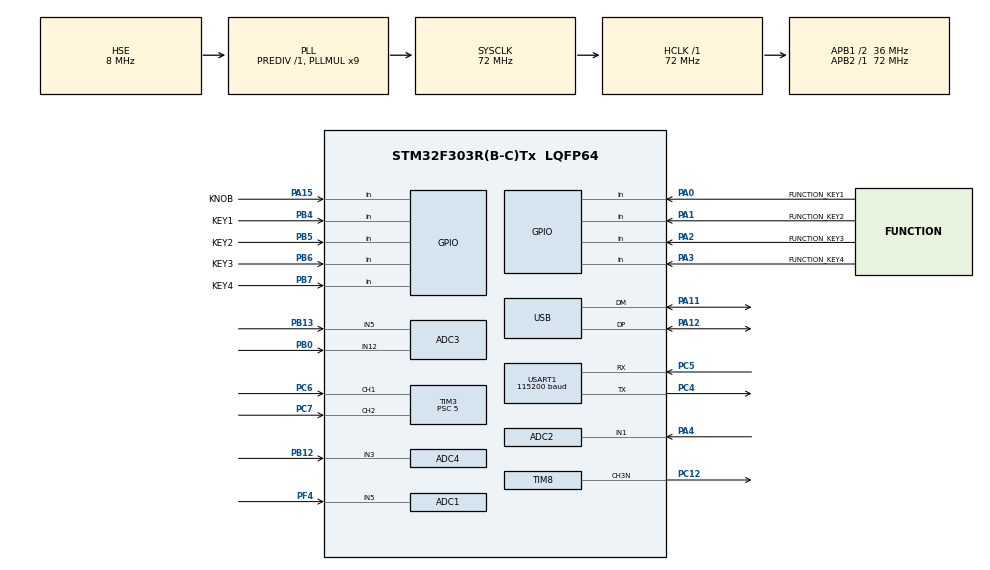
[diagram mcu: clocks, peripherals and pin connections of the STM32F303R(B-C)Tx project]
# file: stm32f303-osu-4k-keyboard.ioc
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ADC1.Channel-0\#ChannelRegularConversion=ADC_CHANNEL_5
ADC1.NbrOfConversionFlag=1
ADC1.Offset-0\#ChannelRegularConversion=0
ADC1.OffsetNumber-0\#ChannelRegularConversion=ADC_OFFSET_NONE
ADC1.Rank-0\#ChannelRegularConversion=1
ADC1.SamplingTime-0\#ChannelRegularConversion=ADC_SAMPLETIME_1CYCLE_5
ADC1.SamplingTimeOPAMP-0\#ChannelRegularConversion=ADC_SAMPLETIME_4CYCLES_5
ADC1.master=1
ADC2.Channel-0\#ChannelRegularConversion=ADC_CHANNEL_1
ADC2.NbrOfConversionFlag=1
ADC2.Offset-0\#ChannelRegularConversion=0
ADC2.OffsetNumber-0\#ChannelRegularConversion=ADC_OFFSET_NONE
ADC2.Rank-0\#ChannelRegularConversion=1
ADC2.SamplingTime-0\#ChannelRegularConversion=ADC_SAMPLETIME_1CYCLE_5
ADC2.SamplingTimeOPAMP-0\#ChannelRegularConversion=ADC_SAMPLETIME_4CYCLES_5
ADC3.Channel-0\#ChannelRegularConversion=ADC_CHANNEL_5
ADC3.NbrOfConversionFlag=1
ADC3.Offset-0\#ChannelRegularConversion=0
ADC3.OffsetNumber-0\#ChannelRegularConversion=ADC_OFFSET_NONE
ADC3.Rank-0\#ChannelRegularConversion=1
ADC3.SamplingTime-0\#ChannelRegularConversion=ADC_SAMPLETIME_1CYCLE_5
ADC3.master=1
ADC4.Channel-0\#ChannelRegularConversion=ADC_CHANNEL_3
ADC4.NbrOfConversionFlag=1
ADC4.Offset-0\#ChannelRegularConversion=0
ADC4.OffsetNumber-0\#ChannelRegularConversion=ADC_OFFSET_NONE
ADC4.Rank-0\#ChannelRegularConversion=1
ADC4.SamplingTime-0\#ChannelRegularConversion=ADC_SAMPLETIME_1CYCLE_5
ADC4.SamplingTimeOPAMP-0\#ChannelRegularConversion=ADC_SAMPLETIME_4CYCLES_5
Dma.Request0=TIM8_CH3/UP
Dma.Request1=USART1_TX
Dma.TIM8_CH3/UP.0.Direction=DMA_MEMORY_TO_PERIPH
Dma.TIM8_CH3/UP.0.Instance=DMA2_Channel1
Dma.TIM8_CH3/UP.0.MemDataAlignment=DMA_MDATAALIGN_WORD
Dma.TIM8_CH3/UP.0.MemInc=DMA_MINC_ENABLE
Dma.TIM8_CH3/UP.0.Mode=DMA_CIRCULAR
Dma.TIM8_CH3/UP.0.PeriphDataAlignment=DMA_PDATAALIGN_WORD
Dma.TIM8_CH3/UP.0.PeriphInc=DMA_PINC_DISABLE
Dma.TIM8_CH3/UP.0.Priority=DMA_PRIORITY_HIGH
Dma.USART1_TX.1.Direction=DMA_MEMORY_TO_PERIPH
Dma.USART1_TX.1.Instance=DMA1_Channel4
Dma.USART1_TX.1.MemDataAlignment=DMA_MDATAALIGN_BYTE
Dma.USART1_TX.1.MemInc=DMA_MINC_ENABLE
Dma.USART1_TX.1.Mode=DMA_NORMAL
Dma.USART1_TX.1.PeriphDataAlignment=DMA_PDATAALIGN_BYTE
Dma.USART1_TX.1.PeriphInc=DMA_PINC_DISABLE
Dma.USART1_TX.1.Priority=DMA_PRIORITY_LOW
Mcu.Family=STM32F3
Mcu.Name=STM32F303R(B-C)Tx
Mcu.Package=LQFP64
NVIC.DMA1_Channel4_IRQn=true\:0\:0\:false\:false\:true\:false\:true\:true
NVIC.DMA2_Channel1_IRQn=true\:0\:0\:false\:false\:true\:false\:true\:true
NVIC.PriorityGroup=NVIC_PRIORITYGROUP_4
NVIC.TIM3_IRQn=true\:0\:0\:false\:false\:true\:true\:true\:true
NVIC.TIM7_IRQn=true\:0\:0\:false\:false\:true\:true\:true\:true
NVIC.USB_LP_CAN_RX0_IRQn=true\:0\:0\:false\:false\:true\:false\:true\:true
PA0.GPIO_Label=FUNCTION_KEY1
PA0.GPIO_PuPd=GPIO_PULLUP
PA0.Signal=GPIO_Input
PA1.GPIO_Label=FUNCTION_KEY2
PA1.GPIO_PuPd=GPIO_PULLUP
PA1.Signal=GPIO_Input
PA11.Mode=Device
PA11.Signal=USB_DM
PA12.Mode=Device
PA12.Signal=USB_DP
PA13.Mode=Serial_Wire
PA13.Signal=SYS_JTMS-SWDIO
PA14.Mode=Serial_Wire
PA14.Signal=SYS_JTCK-SWCLK
PA15.GPIO_Label=KNOB
PA15.GPIO_PuPd=GPIO_PULLUP
PA15.Signal=GPIO_Input
PA2.GPIO_Label=FUNCTION_KEY3
PA2.GPIO_PuPd=GPIO_PULLUP
PA2.Signal=GPIO_Input
PA3.GPIO_Label=FUNCTION_KEY4
PA3.GPIO_PuPd=GPIO_PULLUP
PA3.Signal=GPIO_Input
PA4.Mode=IN1-Single-Ended
PA4.Signal=ADC2_IN1
PB0.Mode=IN12-Single-Ended
PB0.Signal=ADC3_IN12
PB12.Mode=IN3-Single-Ended
PB12.Signal=ADC4_IN3
PB13.Mode=IN5-Single-Ended
PB13.Signal=ADC3_IN5
PB4.GPIO_Label=KEY1
PB4.GPIO_PuPd=GPIO_PULLUP
PB4.Signal=GPIO_Input
PB5.GPIO_Label=KEY2
PB5.GPIO_PuPd=GPIO_PULLUP
PB5.Signal=GPIO_Input
PB6.GPIO_Label=KEY3
PB6.GPIO_PuPd=GPIO_PULLUP
PB6.Signal=GPIO_Input
PB7.GPIO_Label=KEY4
PB7.GPIO_PuPd=GPIO_PULLUP
PB7.Signal=GPIO_Input
PC12.GPIO_ModeDefaultPP=GPIO_MODE_AF_OD
PC12.Mode=PWM Generation3 CH3N
PC12.Signal=TIM8_CH3N
PC4.GPIO_ModeDefaultOD=GPIO_MODE_AF_PP
PC4.Mode=Multiprocessor_communication
PC4.Signal=USART1_TX
PC5.GPIO_ModeDefaultOD=GPIO_MODE_AF_PP
PC5.Mode=Multiprocessor_communication
PC5.Signal=USART1_RX
PC6.Signal=S_TIM3_CH1
PC7.Signal=S_TIM3_CH2
PF0-OSC_IN.Mode=HSE-External-Oscillator
PF0-OSC_IN.Signal=RCC_OSC_IN
PF1-OSC_OUT.Mode=HSE-External-Oscillator
PF1-OSC_OUT.Signal=RCC_OSC_OUT
PF4.Mode=IN5-Single-Ended
PF4.Signal=ADC1_IN5
ProjectManager.HeapSize=0x200
ProjectManager.StackSize=0x400
ProjectManager.TargetToolchain=MDK-ARM V5.32
RCC.AHBFreq_Value=72000000
RCC.APB1CLKDivider=RCC_HCLK_DIV2
RCC.APB1Freq_Value=36000000
RCC.APB1TimFreq_Value=72000000
RCC.APB2Freq_Value=72000000
RCC.APB2TimFreq_Value=72000000
RCC.CortexFreq_Value=72000000
RCC.HCLKFreq_Value=72000000
RCC.HSE_VALUE=8000000
RCC.HSI_VALUE=8000000
RCC.LSE_VALUE=32768
RCC.PLLMUL=RCC_PLL_MUL9
RCC.PRESCALERUSB=RCC_USBCLKSOURCE_PLL_DIV1_5
RCC.SYSCLKFreq_VALUE=72000000
RCC.SYSCLKSourceVirtual=RCC_SYSCLKSOURCE_PLLCLK
RCC.USBFreq_Value=48000000
SH.S_TIM3_CH1.0=TIM3_CH1,Encoder_Interface
SH.S_TIM3_CH2.0=TIM3_CH2,Encoder_Interface
TIM3.EncoderMode=TIM_ENCODERMODE_TI2
TIM3.IC1Filter=4
TIM3.IC2Filter=4
TIM3.IC2Polarity=TIM_ICPOLARITY_RISING
TIM3.Period=30
TIM3.Prescaler=5
TIM7.Period=10-1
TIM7.Prescaler=7200-1
TIM8.Channel-PWM\ Generation3\ CH3N=TIM_CHANNEL_3
TIM8.CounterMode=TIM_COUNTERMODE_DOWN
TIM8.Period=90-1
USART1.BaudRate=115200
USART1.VirtualMode-Multiprocessor_communication=VM_ASYNC
USB.low_power_enable=DISABLE
USB.lpm_enable=DISABLE
USB_DEVICE.CLASS_NAME_FS=HID
USB_DEVICE.PID_HID_FS=22316
USB_DEVICE.PRODUCT_STRING_HID_FS=osu 4K Keyboard
USB_DEVICE.VID=1156
USB_DEVICE.VirtualMode=Hid
USB_DEVICE.VirtualModeFS=Hid_FS
VP_TIM7_VS_ClockSourceINT.Mode=Enable_Timer
VP_USB_DEVICE_VS_USB_DEVICE_HID_FS.Mode=HID_FS
board=custom

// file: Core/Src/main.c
/* USER CODE BEGIN Header */
/**
  ******************************************************************************
  * @file           : main.c
  * @brief          : Main program body
  ******************************************************************************
  * @attention
  *
  * Copyright (c) 2023 STMicroelectronics.
  * All rights reserved.
  *
  * This software is licensed under terms that can be found in the LICENSE file
  * in the root directory of this software component.
  * If no LICENSE file comes with this software, it is provided AS-IS.
  *
  ******************************************************************************
  */
/* USER CODE END Header */
#include "main.h"
#include "adc.h"
#include "dma.h"
#include "tim.h"
#include "usart.h"
#include "usb_device.h"
#include "gpio.h"

/* USER CODE BEGIN Includes */
#include "usbd_hid.h"
#include "stdlib.h"
/* USER CODE END Includes */

/* USER CODE BEGIN PTD */
typedef struct
{
	uint8_t MODIFIER;
	uint8_t RESERVED;
	uint8_t KEYCODE1;
	uint8_t KEYCODE2;
	uint8_t KEYCODE3;
	uint8_t KEYCODE4;
	uint8_t KEYCODE5;
	uint8_t KEYCODE6;
}subKeyBoard;

typedef struct
{
	uint8_t R;
	uint8_t G;
	uint8_t B;
}Color;
typedef struct
{
	uint16_t H;
	uint16_t S;
	uint16_t V;
}HSV_Color;

/* USER CODE END PTD */

/* USER CODE BEGIN PD */
#define KEY1                    HAL_GPIO_ReadPin(KEY1_GPIO_Port,KEY1_Pin)
#define KEY2                    HAL_GPIO_ReadPin(KEY2_GPIO_Port,KEY2_Pin)
#define KEY3                    HAL_GPIO_ReadPin(KEY3_GPIO_Port,KEY3_Pin)
#define KEY4                    HAL_GPIO_ReadPin(KEY4_GPIO_Port,KEY4_Pin)
#define FUNCTION_KEY1           HAL_GPIO_ReadPin(FUNCTION_KEY1_GPIO_Port,FUNCTION_KEY1_Pin)
#define FUNCTION_KEY2           HAL_GPIO_ReadPin(FUNCTION_KEY2_GPIO_Port,FUNCTION_KEY2_Pin)
#define FUNCTION_KEY3           HAL_GPIO_ReadPin(FUNCTION_KEY3_GPIO_Port,FUNCTION_KEY3_Pin)
#define FUNCTION_KEY4           HAL_GPIO_ReadPin(FUNCTION_KEY4_GPIO_Port,FUNCTION_KEY4_Pin)
#define KNOB                    HAL_GPIO_ReadPin(KNOB_GPIO_Port,KNOB_Pin)
#define EC11_A                  HAL_GPIO_ReadPin(EC11_A_GPIO_Port,EC11_A_Pin)
#define EC11_B                  HAL_GPIO_ReadPin(EC11_B_GPIO_Port,EC11_B_Pin)
#define CharacterID(x)          (x-'a'+4)
#define LED_NUM                 (4)
#define ONE_PULSE               (61)
#define ZERO_PULSE              (29)
#define NONE_PULSE              (90)
#define RGB_BUFFER_LENGTH       (424)
#define KEY1_BINDING            CharacterID('z')
#define KEY2_BINDING            CharacterID('x')
#define KEY3_BINDING            CharacterID('c')
#define KEY4_BINDING            CharacterID('v')
#define KONB_BINDING            0x29                //Escape
#define FUNCTION_KEY1_BINDING   0
#define FUNCTION_KEY2_BINDING   0
#define FUNCTION_KEY3_BINDING   0
#define FUNCTION_KEY4_BINDING   0

/* USER CODE END PD */

/* USER CODE BEGIN PV */
uint8_t buf=0xff;
uint8_t count=0;
uint8_t keys[10]={1};
uint8_t ec11flag=0;
//uint8_t spi_sw_i=0;
//uint8_t spi_sw_j=0;
//uint8_t spi_sw_f=0;
//uint8_t spi_sw_c=0x80;
subKeyBoard keyBoardHIDsub = {0,0,0,0,0,0,0,0};
Color colors[4]={{0,0,0},{0,0,0},{0,0,0},{0,0,0}};
const uint8_t code[]={0x80,0xFE};
uint32_t RGB_buffer[RGB_BUFFER_LENGTH] = {
  NONE_PULSE,NONE_PULSE,NONE_PULSE,NONE_PULSE,NONE_PULSE,NONE_PULSE,NONE_PULSE,NONE_PULSE,NONE_PULSE,NONE_PULSE,
  NONE_PULSE,NONE_PULSE,NONE_PULSE,NONE_PULSE,NONE_PULSE,NONE_PULSE,NONE_PULSE,NONE_PULSE,NONE_PULSE,NONE_PULSE,
  NONE_PULSE,NONE_PULSE,NONE_PULSE,NONE_PULSE,NONE_PULSE,NONE_PULSE,NONE_PULSE,NONE_PULSE,NONE_PULSE,NONE_PULSE,
  NONE_PULSE,NONE_PULSE,NONE_PULSE,NONE_PULSE,NONE_PULSE,NONE_PULSE,NONE_PULSE,NONE_PULSE,NONE_PULSE,NONE_PULSE,
  NONE_PULSE,NONE_PULSE,NONE_PULSE,NONE_PULSE,NONE_PULSE,NONE_PULSE,NONE_PULSE,NONE_PULSE,NONE_PULSE,NONE_PULSE,
  NONE_PULSE,NONE_PULSE,NONE_PULSE,NONE_PULSE,NONE_PULSE,NONE_PULSE,NONE_PULSE,NONE_PULSE,NONE_PULSE,NONE_PULSE,
  NONE_PULSE,NONE_PULSE,NONE_PULSE,NONE_PULSE,NONE_PULSE,NONE_PULSE,NONE_PULSE,NONE_PULSE,NONE_PULSE,NONE_PULSE,
  NONE_PULSE,NONE_PULSE,NONE_PULSE,NONE_PULSE,NONE_PULSE,NONE_PULSE,NONE_PULSE,NONE_PULSE,NONE_PULSE,NONE_PULSE,
  NONE_PULSE,NONE_PULSE,NONE_PULSE,NONE_PULSE,NONE_PULSE,NONE_PULSE,NONE_PULSE,NONE_PULSE,NONE_PULSE,NONE_PULSE,
  NONE_PULSE,NONE_PULSE,NONE_PULSE,NONE_PULSE,NONE_PULSE,NONE_PULSE,NONE_PULSE,NONE_PULSE,NONE_PULSE,NONE_PULSE,
  NONE_PULSE,NONE_PULSE,NONE_PULSE,NONE_PULSE,NONE_PULSE,NONE_PULSE,NONE_PULSE,NONE_PULSE,NONE_PULSE,NONE_PULSE,
  NONE_PULSE,NONE_PULSE,NONE_PULSE,NONE_PULSE,NONE_PULSE,NONE_PULSE,NONE_PULSE,NONE_PULSE,NONE_PULSE,NONE_PULSE,
  NONE_PULSE,NONE_PULSE,NONE_PULSE,NONE_PULSE,NONE_PULSE,NONE_PULSE,NONE_PULSE,NONE_PULSE,NONE_PULSE,NONE_PULSE,
  NONE_PULSE,NONE_PULSE,NONE_PULSE,NONE_PULSE,NONE_PULSE,NONE_PULSE,NONE_PULSE,NONE_PULSE,NONE_PULSE,NONE_PULSE,
  NONE_PULSE,NONE_PULSE,NONE_PULSE,NONE_PULSE,NONE_PULSE,NONE_PULSE,NONE_PULSE,NONE_PULSE,NONE_PULSE,NONE_PULSE,
  NONE_PULSE,NONE_PULSE,NONE_PULSE,NONE_PULSE,NONE_PULSE,NONE_PULSE,NONE_PULSE,NONE_PULSE,NONE_PULSE,NONE_PULSE,
  NONE_PULSE,NONE_PULSE,NONE_PULSE,NONE_PULSE,NONE_PULSE,NONE_PULSE,NONE_PULSE,NONE_PULSE,NONE_PULSE,NONE_PULSE,
  NONE_PULSE,NONE_PULSE,NONE_PULSE,NONE_PULSE,NONE_PULSE,NONE_PULSE,NONE_PULSE,NONE_PULSE,NONE_PULSE,NONE_PULSE,
  NONE_PULSE,NONE_PULSE,NONE_PULSE,NONE_PULSE,NONE_PULSE,NONE_PULSE,NONE_PULSE,NONE_PULSE,NONE_PULSE,NONE_PULSE,
  NONE_PULSE,NONE_PULSE,NONE_PULSE,NONE_PULSE,NONE_PULSE,NONE_PULSE,NONE_PULSE,NONE_PULSE,NONE_PULSE,NONE_PULSE,
  NONE_PULSE,NONE_PULSE,NONE_PULSE,NONE_PULSE,NONE_PULSE,NONE_PULSE,NONE_PULSE,NONE_PULSE,NONE_PULSE,NONE_PULSE,
  NONE_PULSE,NONE_PULSE,NONE_PULSE,NONE_PULSE,NONE_PULSE,NONE_PULSE,NONE_PULSE,NONE_PULSE,NONE_PULSE,NONE_PULSE,
  NONE_PULSE,NONE_PULSE,NONE_PULSE,NONE_PULSE,NONE_PULSE,NONE_PULSE,NONE_PULSE,NONE_PULSE,NONE_PULSE,NONE_PULSE,
  NONE_PULSE,NONE_PULSE,NONE_PULSE,NONE_PULSE,NONE_PULSE,NONE_PULSE,NONE_PULSE,NONE_PULSE,NONE_PULSE,NONE_PULSE,
  NONE_PULSE,NONE_PULSE,NONE_PULSE,NONE_PULSE,NONE_PULSE,NONE_PULSE,NONE_PULSE,NONE_PULSE,NONE_PULSE,NONE_PULSE,
  NONE_PULSE,NONE_PULSE,NONE_PULSE,NONE_PULSE,NONE_PULSE,NONE_PULSE,NONE_PULSE,NONE_PULSE,NONE_PULSE,NONE_PULSE,
  NONE_PULSE,NONE_PULSE,NONE_PULSE,NONE_PULSE,NONE_PULSE,NONE_PULSE,NONE_PULSE,NONE_PULSE,NONE_PULSE,NONE_PULSE,
  NONE_PULSE,NONE_PULSE,NONE_PULSE,NONE_PULSE,NONE_PULSE,NONE_PULSE,NONE_PULSE,NONE_PULSE,NONE_PULSE,NONE_PULSE,
  NONE_PULSE,NONE_PULSE,NONE_PULSE,NONE_PULSE,NONE_PULSE,NONE_PULSE,NONE_PULSE,NONE_PULSE,NONE_PULSE,NONE_PULSE,
  NONE_PULSE,NONE_PULSE,NONE_PULSE,NONE_PULSE,NONE_PULSE,NONE_PULSE,NONE_PULSE,NONE_PULSE,NONE_PULSE,NONE_PULSE,
  NONE_PULSE,NONE_PULSE,NONE_PULSE,NONE_PULSE,
  ZERO_PULSE,ZERO_PULSE,ZERO_PULSE,ZERO_PULSE,ZERO_PULSE,ZERO_PULSE,ZERO_PULSE,ZERO_PULSE,
  ZERO_PULSE,ZERO_PULSE,ZERO_PULSE,ZERO_PULSE,ZERO_PULSE,ZERO_PULSE,ZERO_PULSE,ZERO_PULSE,
  ZERO_PULSE,ZERO_PULSE,ZERO_PULSE,ZERO_PULSE,ZERO_PULSE,ZERO_PULSE,ZERO_PULSE,ZERO_PULSE,
  ZERO_PULSE,ZERO_PULSE,ZERO_PULSE,ZERO_PULSE,ZERO_PULSE,ZERO_PULSE,ZERO_PULSE,ZERO_PULSE,
  ZERO_PULSE,ZERO_PULSE,ZERO_PULSE,ZERO_PULSE,ZERO_PULSE,ZERO_PULSE,ZERO_PULSE,ZERO_PULSE,
  ZERO_PULSE,ZERO_PULSE,ZERO_PULSE,ZERO_PULSE,ZERO_PULSE,ZERO_PULSE,ZERO_PULSE,ZERO_PULSE,
  ZERO_PULSE,ZERO_PULSE,ZERO_PULSE,ZERO_PULSE,ZERO_PULSE,ZERO_PULSE,ZERO_PULSE,ZERO_PULSE,
  ZERO_PULSE,ZERO_PULSE,ZERO_PULSE,ZERO_PULSE,ZERO_PULSE,ZERO_PULSE,ZERO_PULSE,ZERO_PULSE,
  ZERO_PULSE,ZERO_PULSE,ZERO_PULSE,ZERO_PULSE,ZERO_PULSE,ZERO_PULSE,ZERO_PULSE,ZERO_PULSE,
  ZERO_PULSE,ZERO_PULSE,ZERO_PULSE,ZERO_PULSE,ZERO_PULSE,ZERO_PULSE,ZERO_PULSE,ZERO_PULSE,
  ZERO_PULSE,ZERO_PULSE,ZERO_PULSE,ZERO_PULSE,ZERO_PULSE,ZERO_PULSE,ZERO_PULSE,ZERO_PULSE,
  ZERO_PULSE,ZERO_PULSE,ZERO_PULSE,ZERO_PULSE,ZERO_PULSE,ZERO_PULSE,ZERO_PULSE,ZERO_PULSE,
  ZERO_PULSE,ZERO_PULSE,ZERO_PULSE,ZERO_PULSE,ZERO_PULSE,ZERO_PULSE,ZERO_PULSE,ZERO_PULSE,
  ZERO_PULSE,ZERO_PULSE,ZERO_PULSE,ZERO_PULSE,ZERO_PULSE,ZERO_PULSE,ZERO_PULSE,ZERO_PULSE,
  ZERO_PULSE,ZERO_PULSE,ZERO_PULSE,ZERO_PULSE,ZERO_PULSE,ZERO_PULSE,ZERO_PULSE,ZERO_PULSE
};

/* USER CODE END PV */

void SystemClock_Config(void);

/* USER CODE BEGIN 0 */
void Set_RGB(uint8_t R,uint8_t G,uint8_t B,uint16_t index)
{
  for (uint8_t i = 0;i < 8;i++)
  {
    RGB_buffer[304+index*24+i]      = (G << i) & (0x80)?ONE_PULSE:ZERO_PULSE;
    RGB_buffer[304+index*24+i + 8]  = (R << i) & (0x80)?ONE_PULSE:ZERO_PULSE;
    RGB_buffer[304+index*24+i + 16] = (B << i) & (0x80)?ONE_PULSE:ZERO_PULSE;
  }
}

/* USER CODE END 0 */

int main(void)
{

  /* MCU Configuration--------------------------------------------------------*/

  /* Reset of all peripherals, Initializes the Flash interface and the Systick. */
  HAL_Init();

  /* Configure the system clock */
  SystemClock_Config();

  /* Initialize all configured peripherals */
  MX_GPIO_Init();
  MX_DMA_Init();
  MX_ADC1_Init();
  MX_ADC2_Init();
  MX_ADC3_Init();
  MX_ADC4_Init();
  MX_TIM7_Init();
  MX_TIM8_Init();
  MX_USART1_UART_Init();
  MX_USB_DEVICE_Init();
  MX_TIM3_Init();
  /* USER CODE BEGIN 2 */
  HAL_TIM_Base_Start_IT(&htim7);
  HAL_TIM_Encoder_Start_IT(&htim3,TIM_CHANNEL_1);
  HAL_TIMEx_PWMN_Start_DMA(&htim8,TIM_CHANNEL_3,RGB_buffer,RGB_BUFFER_LENGTH);
  for (uint8_t i=1;i<127;i++)
  {
    Set_RGB(i,i,i,0);
    Set_RGB(i,i,i,1);
    Set_RGB(i,i,i,2);
    Set_RGB(i,i,i,3);
    HAL_Delay(1);
  }
  for (uint8_t i=128;i>0;i--)
  {
    Set_RGB(i,i,i,0);
    Set_RGB(i,i,i,1);
    Set_RGB(i,i,i,2);
    Set_RGB(i,i,i,3);
    HAL_Delay(1);
  }

  /* USER CODE END 2 */

  /* Infinite loop */
  /* USER CODE BEGIN WHILE */
  while (1)
  {
    colors[0].R=keys[0]?colors[0].R?colors[0].R-=2:0:128;
    colors[1].B=keys[1]?colors[1].B?colors[1].B-=2:0:128;
    colors[2].G=keys[2]?colors[2].G?colors[2].G-=2:0:128;
    colors[3].R=keys[3]?colors[3].R?colors[3].R-=2:0:128;
    colors[3].G=keys[3]?colors[3].G?colors[3].G-=2:0:128;
    Set_RGB(colors[0].R,colors[0].G,colors[0].B,0);
    Set_RGB(colors[1].R,colors[1].G,colors[1].B,1);
    Set_RGB(colors[2].R,colors[2].G,colors[2].B,2);
    Set_RGB(colors[3].R,colors[3].G,colors[3].B,3);
    HAL_Delay(1);

    /* USER CODE END WHILE */

  }
}

void SystemClock_Config(void)
{
  RCC_OscInitTypeDef RCC_OscInitStruct = {0};
  RCC_ClkInitTypeDef RCC_ClkInitStruct = {0};
  RCC_PeriphCLKInitTypeDef PeriphClkInit = {0};

  /** Initializes the RCC Oscillators according to the specified parameters
  * in the RCC_OscInitTypeDef structure.
  */
  RCC_OscInitStruct.OscillatorType = RCC_OSCILLATORTYPE_HSE;
  RCC_OscInitStruct.HSEState = RCC_HSE_ON;
  RCC_OscInitStruct.HSEPredivValue = RCC_HSE_PREDIV_DIV1;
  RCC_OscInitStruct.HSIState = RCC_HSI_ON;
  RCC_OscInitStruct.PLL.PLLState = RCC_PLL_ON;
  RCC_OscInitStruct.PLL.PLLSource = RCC_PLLSOURCE_HSE;
  RCC_OscInitStruct.PLL.PLLMUL = RCC_PLL_MUL9;
  if (HAL_RCC_OscConfig(&RCC_OscInitStruct) != HAL_OK)
  {
    Error_Handler();
  }

  /** Initializes the CPU, AHB and APB buses clocks
  */
  RCC_ClkInitStruct.ClockType = RCC_CLOCKTYPE_HCLK|RCC_CLOCKTYPE_SYSCLK
                              |RCC_CLOCKTYPE_PCLK1|RCC_CLOCKTYPE_PCLK2;
  RCC_ClkInitStruct.SYSCLKSource = RCC_SYSCLKSOURCE_PLLCLK;
  RCC_ClkInitStruct.AHBCLKDivider = RCC_SYSCLK_DIV1;
  RCC_ClkInitStruct.APB1CLKDivider = RCC_HCLK_DIV2;
  RCC_ClkInitStruct.APB2CLKDivider = RCC_HCLK_DIV1;

  if (HAL_RCC_ClockConfig(&RCC_ClkInitStruct, FLASH_LATENCY_2) != HAL_OK)
  {
    Error_Handler();
  }
  PeriphClkInit.PeriphClockSelection = RCC_PERIPHCLK_USB|RCC_PERIPHCLK_USART1
                              |RCC_PERIPHCLK_TIM8|RCC_PERIPHCLK_ADC12
                              |RCC_PERIPHCLK_ADC34;
  PeriphClkInit.Usart1ClockSelection = RCC_USART1CLKSOURCE_PCLK2;
  PeriphClkInit.Adc12ClockSelection = RCC_ADC12PLLCLK_DIV1;
  PeriphClkInit.Adc34ClockSelection = RCC_ADC34PLLCLK_DIV1;
  PeriphClkInit.USBClockSelection = RCC_USBCLKSOURCE_PLL_DIV1_5;
  PeriphClkInit.Tim8ClockSelection = RCC_TIM8CLK_HCLK;
  if (HAL_RCCEx_PeriphCLKConfig(&PeriphClkInit) != HAL_OK)
  {
    Error_Handler();
  }
}

/* USER CODE BEGIN 4 */
void HAL_TIM_PeriodElapsedCallback(TIM_HandleTypeDef *htim)
{
  if (htim->Instance==TIM7)
  {
    keys[0]=KEY1;
    keys[1]=KEY2;
    keys[2]=KEY3;
    keys[3]=KEY4;
    keys[4]=FUNCTION_KEY1;
    keys[5]=FUNCTION_KEY2;
    keys[6]=FUNCTION_KEY3;
    keys[7]=FUNCTION_KEY4;
    keys[8]=KNOB;
    keyBoardHIDsub.KEYCODE1=keys[0]?0:KEY1_BINDING;
    keyBoardHIDsub.KEYCODE2=keys[1]?0:KEY2_BINDING;
    keyBoardHIDsub.KEYCODE3=keys[2]?0:KEY3_BINDING;
    keyBoardHIDsub.KEYCODE4=keys[3]?0:KEY4_BINDING;
    keyBoardHIDsub.KEYCODE1=keys[0]?keys[4]?0:0x35:keyBoardHIDsub.KEYCODE1;//`
    //keyBoardHIDsub.MODIFIER=keys[0]?keys[4]?0:0x80:keyBoardHIDsub.MODIFIER;
    keyBoardHIDsub.KEYCODE2=keys[1]?keys[5]?0:0x2b:keyBoardHIDsub.KEYCODE2;//Tab
    keyBoardHIDsub.KEYCODE3=keys[2]?keys[6]?0:0x3b:keyBoardHIDsub.KEYCODE3;//F2
    keyBoardHIDsub.KEYCODE4=keys[3]?keys[7]?0:0x3b:keyBoardHIDsub.KEYCODE4;//Shift+F2
    keyBoardHIDsub.MODIFIER=keys[3]?keys[7]?0:0x02:keyBoardHIDsub.MODIFIER;
    keyBoardHIDsub.KEYCODE5=keys[8]?0:0x29;
    if(ec11flag)
    {
      keyBoardHIDsub.KEYCODE6=keys[9]?0x51:0x52;
      ec11flag--;
    }
    else
    {
      keyBoardHIDsub.KEYCODE6=0;
    }
    USBD_HID_SendReport(&hUsbDeviceFS,(uint8_t*)&keyBoardHIDsub,sizeof(keyBoardHIDsub));
    count++;
    if(count>=10)
    {
      count=0;
      buf=keys[0]<<3|keys[1]<<2|keys[2]<<1|keys[3]|
          keys[4]<<7|keys[5]<<6|keys[6]<<5|keys[7]<<4;
      HAL_UART_Transmit(&huart1,&buf,1,10);
    }
  }
}

void HAL_TIM_IC_CaptureCallback(TIM_HandleTypeDef *htim)
{
    if(htim == &htim3)
    {
        if(htim->Instance->CR1==0x01)
        {
          ec11flag=5;
          keys[9]=0;
        }
        if(htim->Instance->CR1==0x11)
        {
          ec11flag=5;
          keys[9]=1;
        }
    }
}

/* USER CODE END 4 */

void Error_Handler(void)
{
  __disable_irq();
  while (1)
  {
  }
}
